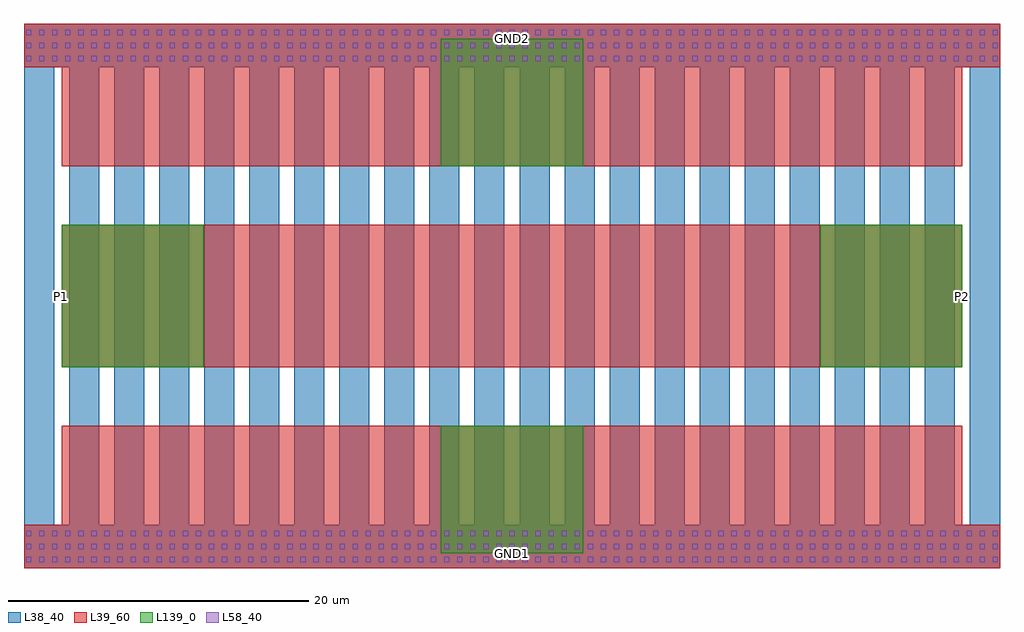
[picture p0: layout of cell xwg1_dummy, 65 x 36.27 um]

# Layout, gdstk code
import gdstk
lib = gdstk.Library(unit=1e-6, precision=1e-09)
def R(c, l, rs):  # rectangles x0, y0, x1, y1
    for r in rs: c.add(gdstk.rectangle(r[:2], r[2:], *l))
def A(c, l, x, y, w, h, nx, ny, dx, dy):  # array of equal rectangles
    R(c, l, [(x+i*dx, y+j*dy, x+i*dx+w, y+j*dy+h) for i in range(nx) for j in range(ny)])
L38_40 = (38, 40)
L39_60 = (39, 60)
L58_40 = (58, 40)
L139_0 = (139, 0)

xwg1_dummy = lib.new_cell('xwg1_dummy')
A(xwg1_dummy, L38_40, -2.5, -13.395, 2, 36.265, 22, 1, 3, 0)
R(xwg1_dummy, L38_40, [(-2.5,-13.395,62.5,-10.495), (-2.5,19.97,62.5,22.87)])
R(xwg1_dummy, L39_60, [(-2.5,-13.395,62.5,-10.495), (0,-12.395,60,-3.92), (0,0,60,9.475), (0,13.395,60,21.87), (-2.5,19.97,62.5,22.87)])
A(xwg1_dummy, L58_40, -2.365, -12.99, 0.35, 0.35, 75, 3, 0.87, 0.87)
A(xwg1_dummy, L58_40, -2.365, 20.375, 0.35, 0.35, 75, 3, 0.87, 0.87)
R(xwg1_dummy, L139_0, [(25.262,-12.395,34.737,-3.92), (0,0,9.475,9.475), (50.525,0,60,9.475), (25.262,13.395,34.737,21.87)])
xwg1_dummy.add(gdstk.Label('GND1', (30,-12.395), layer=139, texttype=0))
xwg1_dummy.add(gdstk.Label('GND2', (30,21.87), layer=139, texttype=0))
xwg1_dummy.add(gdstk.Label('P1', (0,4.737), layer=139, texttype=0))
xwg1_dummy.add(gdstk.Label('P2', (60,4.737), layer=139, texttype=0))

lib.write_gds('xwg1_dummy.gds')
